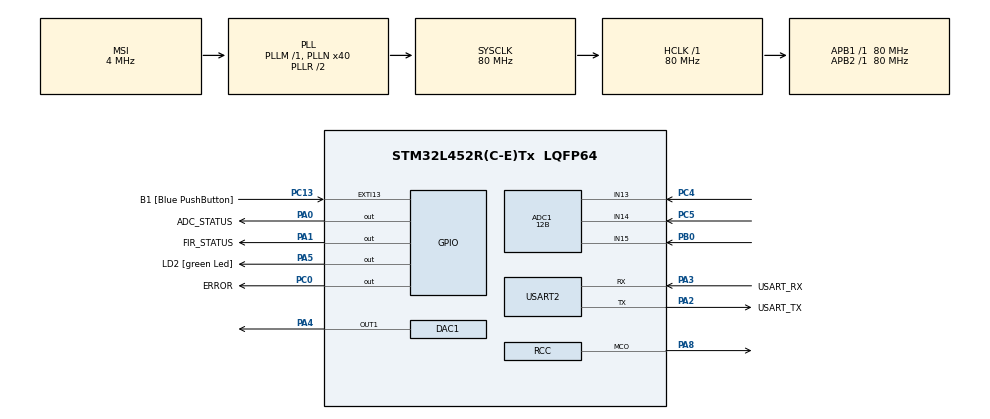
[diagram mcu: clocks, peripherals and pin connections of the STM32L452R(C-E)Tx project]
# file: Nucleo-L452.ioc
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ADC1.Channel-0\#ChannelRegularConversion=ADC_CHANNEL_13
ADC1.ClockPrescaler=ADC_CLOCK_ASYNC_DIV1
ADC1.ContinuousConvMode=DISABLE
ADC1.DMAContinuousRequests=ENABLE
ADC1.DataAlign=ADC_DATAALIGN_RIGHT
ADC1.DiscontinuousConvMode=DISABLE
ADC1.EOCSelection=ADC_EOC_SINGLE_CONV
ADC1.EnableAnalogWatchDog1=false
ADC1.EnableAnalogWatchDog2=false
ADC1.EnableAnalogWatchDog3=false
ADC1.EnableInjectedConversion=DISABLE
ADC1.EnableRegularConversion=ENABLE
ADC1.ExternalTrigConv=ADC_EXTERNALTRIG_T6_TRGO
ADC1.ExternalTrigConvEdge=ADC_EXTERNALTRIGCONVEDGE_RISING
ADC1.LowPowerAutoWait=DISABLE
ADC1.NbrOfConversion=1
ADC1.NbrOfConversionFlag=1
ADC1.OffsetNumber-0\#ChannelRegularConversion=ADC_OFFSET_NONE
ADC1.Overrun=ADC_OVR_DATA_OVERWRITTEN
ADC1.OversamplingMode=DISABLE
ADC1.Rank-0\#ChannelRegularConversion=1
ADC1.Resolution=ADC_RESOLUTION_12B
ADC1.SamplingTime-0\#ChannelRegularConversion=ADC_SAMPLETIME_2CYCLES_5
ADC1.ScanConvMode=ADC_SCAN_DISABLE
ADC1.master=1
DAC1.DAC_Trigger-DAC_OUT1=DAC_TRIGGER_T2_TRGO
Dma.ADC1.1.Direction=DMA_PERIPH_TO_MEMORY
Dma.ADC1.1.Instance=DMA1_Channel1
Dma.ADC1.1.MemDataAlignment=DMA_MDATAALIGN_HALFWORD
Dma.ADC1.1.MemInc=DMA_MINC_ENABLE
Dma.ADC1.1.Mode=DMA_CIRCULAR
Dma.ADC1.1.PeriphDataAlignment=DMA_PDATAALIGN_HALFWORD
Dma.ADC1.1.PeriphInc=DMA_PINC_DISABLE
Dma.ADC1.1.Priority=DMA_PRIORITY_LOW
Dma.DAC_CH1.0.Direction=DMA_MEMORY_TO_PERIPH
Dma.DAC_CH1.0.Instance=DMA1_Channel3
Dma.DAC_CH1.0.MemDataAlignment=DMA_MDATAALIGN_HALFWORD
Dma.DAC_CH1.0.MemInc=DMA_MINC_ENABLE
Dma.DAC_CH1.0.Mode=DMA_CIRCULAR
Dma.DAC_CH1.0.PeriphDataAlignment=DMA_PDATAALIGN_HALFWORD
Dma.DAC_CH1.0.PeriphInc=DMA_PINC_DISABLE
Dma.DAC_CH1.0.Priority=DMA_PRIORITY_LOW
Dma.Request0=DAC_CH1
Dma.Request1=ADC1
FREERTOS.HEAP_NUMBER=3
FREERTOS.MEMORY_ALLOCATION=2
FREERTOS.Queues01=adcInputQueue,8,uint32_t,NULL,Static,adcInputQueueBuffer,adcInputQueueControlBlock;adcOutputQueue,8,uint32_t,NULL,Static,adcOutputQueueBuffer,adcOutputQueueControlBlock
FREERTOS.Tasks01=defaultTask,0,128,StartDefaultTask,Default,NULL,Static,defaultTaskBuffer,defaultTaskControlBlock;adcInputTask,0,512,startAdcInputTask,Default,NULL,Static,adcInputTaskBuffer,adcInputTaskControlBlock;adcOutputTask,0,128,startAdcOutputTask,Default,NULL,Static,adcOutputTaskBuffer,adcOutputTaskControlBlock
FREERTOS.configCHECK_FOR_STACK_OVERFLOW=0
FREERTOS.configENABLE_BACKWARD_COMPATIBILITY=0
FREERTOS.configUSE_IDLE_HOOK=0
FREERTOS.configUSE_PORT_OPTIMISED_TASK_SELECTION=1
FREERTOS.configUSE_TICKLESS_IDLE=1
Mcu.Family=STM32L4
Mcu.Name=STM32L452R(C-E)Tx
Mcu.Package=LQFP64
NVIC.DMA1_Channel1_IRQn=true\:6\:0\:true\:false\:true\:true
NVIC.DMA1_Channel3_IRQn=true\:6\:0\:true\:false\:true\:true
NVIC.PriorityGroup=NVIC_PRIORITYGROUP_4
NVIC.TIM1_UP_TIM16_IRQn=true\:0\:0\:false\:false\:true\:false
NVIC.TimeBase=TIM1_UP_TIM16_IRQn
NVIC.TimeBaseIP=TIM1
PA0.GPIO_Label=ADC_STATUS
PA0.Signal=GPIO_Output
PA1.GPIO_Label=FIR_STATUS
PA1.Signal=GPIO_Output
PA13.GPIO_Label=TMS
PA13.Mode=Trace_Asynchronous_SW
PA13.Signal=SYS_JTMS-SWDIO
PA14.GPIO_Label=TCK
PA14.Mode=Trace_Asynchronous_SW
PA14.Signal=SYS_JTCK-SWCLK
PA2.GPIO_Label=USART_TX
PA2.GPIO_Mode=GPIO_MODE_AF_PP
PA2.GPIO_PuPd=GPIO_NOPULL
PA2.GPIO_Speed=GPIO_SPEED_FREQ_VERY_HIGH
PA2.Mode=Asynchronous
PA2.Signal=USART2_TX
PA3.GPIO_Label=USART_RX
PA3.GPIO_Mode=GPIO_MODE_AF_PP
PA3.GPIO_PuPd=GPIO_NOPULL
PA3.GPIO_Speed=GPIO_SPEED_FREQ_VERY_HIGH
PA3.Mode=Asynchronous
PA3.Signal=USART2_RX
PA4.Signal=COMP_DAC11_group
PA5.GPIO_Label=LD2 [green Led]
PA5.GPIO_ModeDefaultOutputPP=GPIO_MODE_OUTPUT_PP
PA5.GPIO_PuPd=GPIO_NOPULL
PA5.GPIO_Speed=GPIO_SPEED_FREQ_LOW
PA5.Signal=GPIO_Output
PA8.Mode=Clock-out
PA8.Signal=RCC_MCO
PB0.Signal=ADCx_IN15
PB3.GPIO_Label=SWO
PB3.Mode=Trace_Asynchronous_SW
PB3.Signal=SYS_JTDO-SWO
PC0.GPIO_Label=ERROR
PC0.Signal=GPIO_Output
PC13.GPIO_Label=B1 [Blue PushButton]
PC13.GPIO_ModeDefaultEXTI=GPIO_MODE_IT_FALLING
PC13.GPIO_PuPd=GPIO_NOPULL
PC13.Signal=GPXTI13
PC14/OSC32_IN.Mode=LSE-External-Oscillator
PC14/OSC32_IN.Signal=RCC_OSC32_IN
PC15/OSC32_OUT.Mode=LSE-External-Oscillator
PC15/OSC32_OUT.Signal=RCC_OSC32_OUT
PC4.Signal=ADCx_IN13
PC5.Signal=ADCx_IN14
PH0/OSC_IN.Mode=HSE-External-Oscillator
PH0/OSC_IN.Signal=RCC_OSC_IN
PH1/OSC_OUT.Mode=HSE-External-Oscillator
PH1/OSC_OUT.Signal=RCC_OSC_OUT
ProjectManager.HeapSize=0x2000
ProjectManager.StackSize=0x400
ProjectManager.TargetToolchain=SW4STM32
RCC.ADCFreq_Value=16000000
RCC.AHBFreq_Value=80000000
RCC.APB1Freq_Value=80000000
RCC.APB1TimFreq_Value=80000000
RCC.APB2Freq_Value=80000000
RCC.APB2TimFreq_Value=80000000
RCC.CortexFreq_Value=80000000
RCC.HCLKFreq_Value=80000000
RCC.HSE_VALUE=8000000
RCC.HSI48_VALUE=48000000
RCC.HSICalibrationValue=64
RCC.HSI_VALUE=16000000
RCC.MSI_VALUE=4000000
RCC.PLLN=40
RCC.PLLSAI1N=16
RCC.PLLSAI1R=RCC_PLLR_DIV4
RCC.PREFETCH_ENABLE=1
RCC.RCC_MCO1Source=RCC_MCO1SOURCE_MSI
RCC.SYSCLKFreq_VALUE=80000000
RCC.SYSCLKSource=RCC_SYSCLKSOURCE_PLLCLK
RCC.USBFreq_Value=32000000
RCC.VCOOutputFreq_Value=160000000
SH.ADCx_IN13.0=ADC1_IN13,IN13-Single-Ended
SH.ADCx_IN14.0=ADC1_IN14,IN14-Single-Ended
SH.ADCx_IN15.0=ADC1_IN15,IN15-Single-Ended
SH.COMP_DAC11_group.0=DAC1_OUT1,DAC_OUT1
TIM2.Period=3029
TIM2.TIM_MasterOutputTrigger=TIM_TRGO_UPDATE
TIM6.Period=3029
TIM6.TIM_MasterOutputTrigger=TIM_TRGO_UPDATE
USART2.VirtualMode-Asynchronous=VM_ASYNC
VP_FREERTOS_VS_ENABLE.Mode=Enabled
VP_SYS_VS_tim1.Mode=TIM1
VP_TIM2_VS_ClockSourceINT.Mode=Internal
VP_TIM6_VS_ClockSourceINT.Mode=Enable_Timer
board=NUCLEO-L452RE

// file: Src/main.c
/**
  ******************************************************************************
  * File Name          : main.c
  * Description        : Main program body
  ******************************************************************************
  *
  * Copyright (c) 2017 STMicroelectronics International N.V.
  * All rights reserved.
  *
  * Redistribution and use in source and binary forms, with or without
  * modification, are permitted, provided that the following conditions are met:
  *
  * 1. Redistribution of source code must retain the above copyright notice,
  *    this list of conditions and the following disclaimer.
  * 2. Redistributions in binary form must reproduce the above copyright notice,
  *    this list of conditions and the following disclaimer in the documentation
  *    and/or other materials provided with the distribution.
  * 3. Neither the name of STMicroelectronics nor the names of other
  *    contributors to this software may be used to endorse or promote products
  *    derived from this software without specific written permission.
  * 4. This software, including modifications and/or derivative works of this
  *    software, must execute solely and exclusively on microcontroller or
  *    microprocessor devices manufactured by or for STMicroelectronics.
  * 5. Redistribution and use of this software other than as permitted under
  *    this license is void and will automatically terminate your rights under
  *    this license.
  *
  * THIS SOFTWARE IS PROVIDED BY STMICROELECTRONICS AND CONTRIBUTORS "AS IS"
  * AND ANY EXPRESS, IMPLIED OR STATUTORY WARRANTIES, INCLUDING, BUT NOT
  * LIMITED TO, THE IMPLIED WARRANTIES OF MERCHANTABILITY, FITNESS FOR A
  * PARTICULAR PURPOSE AND NON-INFRINGEMENT OF THIRD PARTY INTELLECTUAL PROPERTY
  * RIGHTS ARE DISCLAIMED TO THE FULLEST EXTENT PERMITTED BY LAW. IN NO EVENT
  * SHALL STMICROELECTRONICS OR CONTRIBUTORS BE LIABLE FOR ANY DIRECT, INDIRECT,
  * INCIDENTAL, SPECIAL, EXEMPLARY, OR CONSEQUENTIAL DAMAGES (INCLUDING, BUT NOT
  * LIMITED TO, PROCUREMENT OF SUBSTITUTE GOODS OR SERVICES; LOSS OF USE, DATA,
  * OR PROFITS; OR BUSINESS INTERRUPTION) HOWEVER CAUSED AND ON ANY THEORY OF
  * LIABILITY, WHETHER IN CONTRACT, STRICT LIABILITY, OR TORT (INCLUDING
  * NEGLIGENCE OR OTHERWISE) ARISING IN ANY WAY OUT OF THE USE OF THIS SOFTWARE,
  * EVEN IF ADVISED OF THE POSSIBILITY OF SUCH DAMAGE.
  *
  ******************************************************************************
  */
#include "main.h"
#include "stm32l4xx_hal.h"
#include "cmsis_os.h"

/* USER CODE BEGIN Includes */
#include "arm_math.h"
#include "stdint.h"

/* USER CODE END Includes */

ADC_HandleTypeDef hadc1;
DMA_HandleTypeDef hdma_adc1;

DAC_HandleTypeDef hdac1;
DMA_HandleTypeDef hdma_dac_ch1;

TIM_HandleTypeDef htim2;
TIM_HandleTypeDef htim6;

UART_HandleTypeDef huart2;

osThreadId defaultTaskHandle;
uint32_t defaultTaskBuffer[ 128 ];
osStaticThreadDef_t defaultTaskControlBlock;
osThreadId adcInputTaskHandle;
uint32_t adcInputTaskBuffer[ 512 ];
osStaticThreadDef_t adcInputTaskControlBlock;
osThreadId adcOutputTaskHandle;
uint32_t adcOutputTaskBuffer[ 128 ];
osStaticThreadDef_t adcOutputTaskControlBlock;
osMessageQId adcInputQueueHandle;
uint8_t adcInputQueueBuffer[ 8 * sizeof( uint32_t ) ];
osStaticMessageQDef_t adcInputQueueControlBlock;
osMessageQId adcOutputQueueHandle;
uint8_t adcOutputQueueBuffer[ 8 * sizeof( uint32_t ) ];
osStaticMessageQDef_t adcOutputQueueControlBlock;

/* USER CODE BEGIN PV */
/* Private variables ---------------------------------------------------------*/
#define ADC_BUFFER_SIZE 176
#define ADC_BLOCKS 8
#define FILTER_SIZE 121

volatile uint32_t adc_counter = 0;
uint32_t adc_buffer[ADC_BUFFER_SIZE];
uint16_t adc_bounce_buffer[ADC_BUFFER_SIZE * ADC_BLOCKS];

const float* filter_taps;
float filter_state[ADC_BUFFER_SIZE + FILTER_SIZE - 1];
float filter_input[ADC_BUFFER_SIZE];
float filter_output[ADC_BUFFER_SIZE];
arm_fir_instance_f32 instance;

const float taps_0dB_121[] = {
  0.00404434702588704,
  -0.0003678805989470367,
  -0.0011037474176397869,
  -0.0023718433790735397,
  -0.004074774206090812,
  -0.005873042355767296,
  -0.007185024927682025,
  -0.00733586918005499,
  -0.005849936137673611,
  -0.0026340821242355635,
  0.001829866887380395,
  0.006596559367932984,
  0.010513363703436297,
  0.012581963716759209,
  0.012278717176141912,
  0.009711068794837135,
  0.005595156551222992,
  0.0010151465722928203,
  -0.0028911100291917724,
  -0.00525632756952279,
  -0.005713225280738633,
  -0.004481173891886628,
  -0.0022979447479362165,
  -0.00020042687909196258,
  0.0007698191454281245,
  -0.00010521900913954391,
  -0.0029591195718788473,
  -0.00722329412770922,
  -0.01171525034180743,
  -0.014940096229612041,
  -0.015533747313789608,
  -0.012735965353880947,
  -0.006719733175529481,
  0.0013488096154956725,
  0.00958058819325866,
  0.015905894530456915,
  0.018729580500272548,
  0.01748781569748245,
  0.012897342590446394,
  0.006795493031300682,
  0.0015881037163025886,
  -0.0005374299552534915,
  0.0016047331197704602,
  0.007673729209166328,
  0.015724242346878387,
  0.022631203832237833,
  0.024935722640487233,
  0.01989507252801227,
  0.00645078432931977,
  -0.014172629267618218,
  -0.038442876378037664,
  -0.06113274585379875,
  -0.07647113797360244,
  -0.07957164384983365,
  -0.06778356575105521,
  -0.04159845430900078,
  -0.0048373906972505945,
  0.03598583922416374,
  0.0730150987796154,
  0.09880455186134979,
  0.10804223448811107,
  0.09880455186134979,
  0.0730150987796154,
  0.03598583922416374,
  -0.0048373906972505945,
  -0.04159845430900078,
  -0.06778356575105521,
  -0.07957164384983365,
  -0.07647113797360244,
  -0.06113274585379875,
  -0.038442876378037664,
  -0.014172629267618218,
  0.006450784329319771,
  0.01989507252801227,
  0.024935722640487233,
  0.022631203832237833,
  0.015724242346878387,
  0.007673729209166332,
  0.0016047331197704602,
  -0.0005374299552534915,
  0.0015881037163025886,
  0.0067954930313006805,
  0.012897342590446394,
  0.017487815697482458,
  0.01872958050027255,
  0.015905894530456915,
  0.00958058819325866,
  0.0013488096154956762,
  -0.006719733175529481,
  -0.012735965353880947,
  -0.015533747313789608,
  -0.014940096229612034,
  -0.01171525034180743,
  -0.00722329412770922,
  -0.0029591195718788473,
  -0.00010521900913954758,
  0.0007698191454281245,
  -0.00020042687909196258,
  -0.0022979447479362165,
  -0.004481173891886626,
  -0.005713225280738633,
  -0.005256327569522788,
  -0.0028911100291917724,
  0.0010151465722928203,
  0.005595156551222992,
  0.009711068794837135,
  0.012278717176141915,
  0.012581963716759209,
  0.010513363703436297,
  0.006596559367932984,
  0.001829866887380395,
  -0.0026340821242355635,
  -0.005849936137673611,
  -0.0073358691800549875,
  -0.007185024927682024,
  -0.005873042355767296,
  -0.004074774206090811,
  -0.0023718433790735397,
  -0.0011037474176397869,
  -0.00036788059894704404,
  0.00404434702588704
};

/* USER CODE END PV */

void SystemClock_Config(void);
void Error_Handler(void);
static void MX_GPIO_Init(void);
static void MX_DMA_Init(void);
static void MX_USART2_UART_Init(void);
static void MX_ADC1_Init(void);
static void MX_DAC1_Init(void);
static void MX_TIM2_Init(void);
static void MX_TIM6_Init(void);
void StartDefaultTask(void const * argument);
void startAdcInputTask(void const * argument);
void startAdcOutputTask(void const * argument);

/* USER CODE BEGIN PFP */
/* Private function prototypes -----------------------------------------------*/
void blink(int delay) __attribute__((section(".bss2")));
void startADC(void);
float* filter(int16_t* input) __attribute__((section(".bss2")));
/* USER CODE END PFP */

/* USER CODE BEGIN 0 */

void blink(int delay)
{
  HAL_GPIO_TogglePin(LD2_GPIO_Port, LD2_Pin);
  HAL_Delay(delay);
}

inline void adc_buffer_copy(int n)
{
  uint16_t* dest = adc_bounce_buffer + (ADC_BUFFER_SIZE * adc_counter);
  uint16_t* src = ((uint16_t*)adc_buffer) + (n * ADC_BUFFER_SIZE);
  memcpy(dest, src, ADC_BUFFER_SIZE * 2);
  adc_counter = ((adc_counter + 1) & (ADC_BLOCKS - 1));
  osMessagePut(adcInputQueueHandle, (uint32_t) dest, 0);
}

// DMA Conversion first half complete.
void HAL_ADC_ConvHalfCpltCallback(ADC_HandleTypeDef* unused)
{
  ADC_STATUS_GPIO_Port->BRR = ADC_STATUS_Pin;
  adc_buffer_copy(0);
}

// DMA Conversion second half complete.
void HAL_ADC_ConvCpltCallback(ADC_HandleTypeDef* unused)
{
  ADC_STATUS_GPIO_Port->BSRR = ADC_STATUS_Pin;
  adc_buffer_copy(1);
}

void startADC(void)
{
  HAL_StatusTypeDef adcStatus = HAL_ADCEx_Calibration_Start(&hadc1, ADC_SINGLE_ENDED);
  if (adcStatus != HAL_OK) {
    Error_Handler();
  }

  HAL_TIM_Base_Start(&htim6);
  HAL_ADC_Start_DMA(&hadc1, adc_buffer, ADC_BUFFER_SIZE * 2);
}

void init_filter(void)
{
  arm_fir_init_f32(&instance, FILTER_SIZE, (float32_t*)filter_taps,
    filter_state, ADC_BUFFER_SIZE);
}

float* filter(int16_t* input)
{
  FIR_STATUS_GPIO_Port->BSRR = FIR_STATUS_Pin;
  for (size_t i = 0; i != ADC_BUFFER_SIZE; i++) {
      filter_input[i] = (input[i] - 2048) * 0.000488281f;
  }
  arm_fir_f32(&instance, filter_input, filter_output, ADC_BUFFER_SIZE);
  FIR_STATUS_GPIO_Port->BRR = FIR_STATUS_Pin;
  return filter_output;

}
/* USER CODE END 0 */

int main(void)
{

  /* MCU Configuration----------------------------------------------------------*/

  /* Reset of all peripherals, Initializes the Flash interface and the Systick. */
  HAL_Init();

  /* Configure the system clock */
  SystemClock_Config();

  /* Initialize all configured peripherals */
  MX_GPIO_Init();
  MX_DMA_Init();
  MX_USART2_UART_Init();
  MX_ADC1_Init();
  MX_DAC1_Init();
  MX_TIM2_Init();
  MX_TIM6_Init();

  /* Create the thread(s) */
  /* definition and creation of defaultTask */
  osThreadStaticDef(defaultTask, StartDefaultTask, osPriorityNormal, 0, 128, defaultTaskBuffer, &defaultTaskControlBlock);
  defaultTaskHandle = osThreadCreate(osThread(defaultTask), NULL);

  /* definition and creation of adcInputTask */
  osThreadStaticDef(adcInputTask, startAdcInputTask, osPriorityNormal, 0, 512, adcInputTaskBuffer, &adcInputTaskControlBlock);
  adcInputTaskHandle = osThreadCreate(osThread(adcInputTask), NULL);

  /* definition and creation of adcOutputTask */
  osThreadStaticDef(adcOutputTask, startAdcOutputTask, osPriorityNormal, 0, 128, adcOutputTaskBuffer, &adcOutputTaskControlBlock);
  adcOutputTaskHandle = osThreadCreate(osThread(adcOutputTask), NULL);

  /* Create the queue(s) */
  /* definition and creation of adcInputQueue */
  osMessageQStaticDef(adcInputQueue, 8, uint32_t, adcInputQueueBuffer, &adcInputQueueControlBlock);
  adcInputQueueHandle = osMessageCreate(osMessageQ(adcInputQueue), NULL);

  /* definition and creation of adcOutputQueue */
  osMessageQStaticDef(adcOutputQueue, 8, uint32_t, adcOutputQueueBuffer, &adcOutputQueueControlBlock);
  adcOutputQueueHandle = osMessageCreate(osMessageQ(adcOutputQueue), NULL);

  /* Start scheduler */
  osKernelStart();

  /* We should never get here as control is now taken by the scheduler */

  /* Infinite loop */
  while (1)
  {

  }

}

/** System Clock Configuration
*/
void SystemClock_Config(void)
{

  RCC_OscInitTypeDef RCC_OscInitStruct;
  RCC_ClkInitTypeDef RCC_ClkInitStruct;
  RCC_PeriphCLKInitTypeDef PeriphClkInit;

    /**Initializes the CPU, AHB and APB busses clocks
    */
  RCC_OscInitStruct.OscillatorType = RCC_OSCILLATORTYPE_LSE|RCC_OSCILLATORTYPE_MSI;
  RCC_OscInitStruct.LSEState = RCC_LSE_ON;
  RCC_OscInitStruct.MSIState = RCC_MSI_ON;
  RCC_OscInitStruct.MSICalibrationValue = 0;
  RCC_OscInitStruct.MSIClockRange = RCC_MSIRANGE_6;
  RCC_OscInitStruct.PLL.PLLState = RCC_PLL_ON;
  RCC_OscInitStruct.PLL.PLLSource = RCC_PLLSOURCE_MSI;
  RCC_OscInitStruct.PLL.PLLM = 1;
  RCC_OscInitStruct.PLL.PLLN = 40;
  RCC_OscInitStruct.PLL.PLLP = RCC_PLLP_DIV7;
  RCC_OscInitStruct.PLL.PLLQ = RCC_PLLQ_DIV2;
  RCC_OscInitStruct.PLL.PLLR = RCC_PLLR_DIV2;
  if (HAL_RCC_OscConfig(&RCC_OscInitStruct) != HAL_OK)
  {
    Error_Handler();
  }

    /**Initializes the CPU, AHB and APB busses clocks
    */
  RCC_ClkInitStruct.ClockType = RCC_CLOCKTYPE_HCLK|RCC_CLOCKTYPE_SYSCLK
                              |RCC_CLOCKTYPE_PCLK1|RCC_CLOCKTYPE_PCLK2;
  RCC_ClkInitStruct.SYSCLKSource = RCC_SYSCLKSOURCE_PLLCLK;
  RCC_ClkInitStruct.AHBCLKDivider = RCC_SYSCLK_DIV1;
  RCC_ClkInitStruct.APB1CLKDivider = RCC_HCLK_DIV1;
  RCC_ClkInitStruct.APB2CLKDivider = RCC_HCLK_DIV1;

  if (HAL_RCC_ClockConfig(&RCC_ClkInitStruct, FLASH_LATENCY_4) != HAL_OK)
  {
    Error_Handler();
  }

  PeriphClkInit.PeriphClockSelection = RCC_PERIPHCLK_USART2|RCC_PERIPHCLK_ADC;
  PeriphClkInit.Usart2ClockSelection = RCC_USART2CLKSOURCE_PCLK1;
  PeriphClkInit.AdcClockSelection = RCC_ADCCLKSOURCE_PLLSAI1;
  PeriphClkInit.PLLSAI1.PLLSAI1Source = RCC_PLLSOURCE_MSI;
  PeriphClkInit.PLLSAI1.PLLSAI1M = 1;
  PeriphClkInit.PLLSAI1.PLLSAI1N = 16;
  PeriphClkInit.PLLSAI1.PLLSAI1P = RCC_PLLP_DIV7;
  PeriphClkInit.PLLSAI1.PLLSAI1Q = RCC_PLLQ_DIV2;
  PeriphClkInit.PLLSAI1.PLLSAI1R = RCC_PLLR_DIV4;
  PeriphClkInit.PLLSAI1.PLLSAI1ClockOut = RCC_PLLSAI1_ADC1CLK;
  if (HAL_RCCEx_PeriphCLKConfig(&PeriphClkInit) != HAL_OK)
  {
    Error_Handler();
  }

  HAL_RCC_MCOConfig(RCC_MCO1, RCC_MCO1SOURCE_MSI, RCC_MCODIV_1);

    /**Configure LSE Drive Capability
    */
  __HAL_RCC_LSEDRIVE_CONFIG(RCC_LSEDRIVE_LOW);

    /**Configure the main internal regulator output voltage
    */
  if (HAL_PWREx_ControlVoltageScaling(PWR_REGULATOR_VOLTAGE_SCALE1) != HAL_OK)
  {
    Error_Handler();
  }

    /**Configure the Systick interrupt time
    */
  HAL_SYSTICK_Config(HAL_RCC_GetHCLKFreq()/1000);

    /**Configure the Systick
    */
  HAL_SYSTICK_CLKSourceConfig(SYSTICK_CLKSOURCE_HCLK);

    /**Enable MSI Auto calibration
    */
  HAL_RCCEx_EnableMSIPLLMode();

  /* SysTick_IRQn interrupt configuration */
  HAL_NVIC_SetPriority(SysTick_IRQn, 15, 0);
}

/* ADC1 init function */
static void MX_ADC1_Init(void)
{

  ADC_ChannelConfTypeDef sConfig;

    /**Common config
    */
  hadc1.Instance = ADC1;
  hadc1.Init.ClockPrescaler = ADC_CLOCK_ASYNC_DIV1;
  hadc1.Init.Resolution = ADC_RESOLUTION_12B;
  hadc1.Init.DataAlign = ADC_DATAALIGN_RIGHT;
  hadc1.Init.ScanConvMode = ADC_SCAN_DISABLE;
  hadc1.Init.EOCSelection = ADC_EOC_SINGLE_CONV;
  hadc1.Init.LowPowerAutoWait = DISABLE;
  hadc1.Init.ContinuousConvMode = DISABLE;
  hadc1.Init.NbrOfConversion = 1;
  hadc1.Init.DiscontinuousConvMode = DISABLE;
  hadc1.Init.NbrOfDiscConversion = 1;
  hadc1.Init.ExternalTrigConv = ADC_EXTERNALTRIG_T6_TRGO;
  hadc1.Init.ExternalTrigConvEdge = ADC_EXTERNALTRIGCONVEDGE_RISING;
  hadc1.Init.DMAContinuousRequests = ENABLE;
  hadc1.Init.Overrun = ADC_OVR_DATA_OVERWRITTEN;
  hadc1.Init.OversamplingMode = DISABLE;
  if (HAL_ADC_Init(&hadc1) != HAL_OK)
  {
    Error_Handler();
  }

    /**Configure Regular Channel
    */
  sConfig.Channel = ADC_CHANNEL_13;
  sConfig.Rank = 1;
  sConfig.SamplingTime = ADC_SAMPLETIME_2CYCLES_5;
  sConfig.SingleDiff = ADC_SINGLE_ENDED;
  sConfig.OffsetNumber = ADC_OFFSET_NONE;
  sConfig.Offset = 0;
  if (HAL_ADC_ConfigChannel(&hadc1, &sConfig) != HAL_OK)
  {
    Error_Handler();
  }

}

/* DAC1 init function */
static void MX_DAC1_Init(void)
{

  DAC_ChannelConfTypeDef sConfig;

    /**DAC Initialization
    */
  hdac1.Instance = DAC1;
  if (HAL_DAC_Init(&hdac1) != HAL_OK)
  {
    Error_Handler();
  }

    /**DAC channel OUT1 config
    */
  sConfig.DAC_SampleAndHold = DAC_SAMPLEANDHOLD_DISABLE;
  sConfig.DAC_Trigger = DAC_TRIGGER_T2_TRGO;
  sConfig.DAC_OutputBuffer = DAC_OUTPUTBUFFER_ENABLE;
  sConfig.DAC_ConnectOnChipPeripheral = DAC_CHIPCONNECT_DISABLE;
  sConfig.DAC_UserTrimming = DAC_TRIMMING_FACTORY;
  if (HAL_DAC_ConfigChannel(&hdac1, &sConfig, DAC_CHANNEL_1) != HAL_OK)
  {
    Error_Handler();
  }

}

/* TIM2 init function */
static void MX_TIM2_Init(void)
{

  TIM_ClockConfigTypeDef sClockSourceConfig;
  TIM_MasterConfigTypeDef sMasterConfig;

  htim2.Instance = TIM2;
  htim2.Init.Prescaler = 0;
  htim2.Init.CounterMode = TIM_COUNTERMODE_UP;
  htim2.Init.Period = 3029;
  htim2.Init.ClockDivision = TIM_CLOCKDIVISION_DIV1;
  if (HAL_TIM_Base_Init(&htim2) != HAL_OK)
  {
    Error_Handler();
  }

  sClockSourceConfig.ClockSource = TIM_CLOCKSOURCE_INTERNAL;
  if (HAL_TIM_ConfigClockSource(&htim2, &sClockSourceConfig) != HAL_OK)
  {
    Error_Handler();
  }

  sMasterConfig.MasterOutputTrigger = TIM_TRGO_UPDATE;
  sMasterConfig.MasterSlaveMode = TIM_MASTERSLAVEMODE_DISABLE;
  if (HAL_TIMEx_MasterConfigSynchronization(&htim2, &sMasterConfig) != HAL_OK)
  {
    Error_Handler();
  }

}

/* TIM6 init function */
static void MX_TIM6_Init(void)
{

  TIM_MasterConfigTypeDef sMasterConfig;

  htim6.Instance = TIM6;
  htim6.Init.Prescaler = 0;
  htim6.Init.CounterMode = TIM_COUNTERMODE_UP;
  htim6.Init.Period = 3029;
  if (HAL_TIM_Base_Init(&htim6) != HAL_OK)
  {
    Error_Handler();
  }

  sMasterConfig.MasterOutputTrigger = TIM_TRGO_UPDATE;
  sMasterConfig.MasterSlaveMode = TIM_MASTERSLAVEMODE_DISABLE;
  if (HAL_TIMEx_MasterConfigSynchronization(&htim6, &sMasterConfig) != HAL_OK)
  {
    Error_Handler();
  }

}

/* USART2 init function */
static void MX_USART2_UART_Init(void)
{

  huart2.Instance = USART2;
  huart2.Init.BaudRate = 115200;
  huart2.Init.WordLength = UART_WORDLENGTH_7B;
  huart2.Init.StopBits = UART_STOPBITS_1;
  huart2.Init.Parity = UART_PARITY_NONE;
  huart2.Init.Mode = UART_MODE_TX_RX;
  huart2.Init.HwFlowCtl = UART_HWCONTROL_NONE;
  huart2.Init.OverSampling = UART_OVERSAMPLING_16;
  huart2.Init.OneBitSampling = UART_ONE_BIT_SAMPLE_DISABLE;
  huart2.AdvancedInit.AdvFeatureInit = UART_ADVFEATURE_NO_INIT;
  if (HAL_UART_Init(&huart2) != HAL_OK)
  {
    Error_Handler();
  }

}

static void MX_DMA_Init(void)
{
  /* DMA controller clock enable */
  __HAL_RCC_DMA1_CLK_ENABLE();

  /* DMA interrupt init */
  /* DMA1_Channel1_IRQn interrupt configuration */
  HAL_NVIC_SetPriority(DMA1_Channel1_IRQn, 6, 0);
  HAL_NVIC_EnableIRQ(DMA1_Channel1_IRQn);
  /* DMA1_Channel3_IRQn interrupt configuration */
  HAL_NVIC_SetPriority(DMA1_Channel3_IRQn, 6, 0);
  HAL_NVIC_EnableIRQ(DMA1_Channel3_IRQn);

}

/** Configure pins as
        * Analog
        * Input
        * Output
        * EVENT_OUT
        * EXTI
     PA8   ------> RCC_MCO
*/
static void MX_GPIO_Init(void)
{

  GPIO_InitTypeDef GPIO_InitStruct;

  /* GPIO Ports Clock Enable */
  __HAL_RCC_GPIOC_CLK_ENABLE();
  __HAL_RCC_GPIOH_CLK_ENABLE();
  __HAL_RCC_GPIOA_CLK_ENABLE();
  __HAL_RCC_GPIOB_CLK_ENABLE();

  /*Configure GPIO pin Output Level */
  HAL_GPIO_WritePin(ERROR_GPIO_Port, ERROR_Pin, GPIO_PIN_RESET);

  /*Configure GPIO pin Output Level */
  HAL_GPIO_WritePin(GPIOA, ADC_STATUS_Pin|FIR_STATUS_Pin|LD2_Pin, GPIO_PIN_RESET);

  /*Configure GPIO pin : B1_Pin */
  GPIO_InitStruct.Pin = B1_Pin;
  GPIO_InitStruct.Mode = GPIO_MODE_IT_FALLING;
  GPIO_InitStruct.Pull = GPIO_NOPULL;
  HAL_GPIO_Init(B1_GPIO_Port, &GPIO_InitStruct);

  /*Configure GPIO pin : ERROR_Pin */
  GPIO_InitStruct.Pin = ERROR_Pin;
  GPIO_InitStruct.Mode = GPIO_MODE_OUTPUT_PP;
  GPIO_InitStruct.Pull = GPIO_NOPULL;
  GPIO_InitStruct.Speed = GPIO_SPEED_FREQ_LOW;
  HAL_GPIO_Init(ERROR_GPIO_Port, &GPIO_InitStruct);

  /*Configure GPIO pins : ADC_STATUS_Pin FIR_STATUS_Pin LD2_Pin */
  GPIO_InitStruct.Pin = ADC_STATUS_Pin|FIR_STATUS_Pin|LD2_Pin;
  GPIO_InitStruct.Mode = GPIO_MODE_OUTPUT_PP;
  GPIO_InitStruct.Pull = GPIO_NOPULL;
  GPIO_InitStruct.Speed = GPIO_SPEED_FREQ_LOW;
  HAL_GPIO_Init(GPIOA, &GPIO_InitStruct);

  /*Configure GPIO pin : PA8 */
  GPIO_InitStruct.Pin = GPIO_PIN_8;
  GPIO_InitStruct.Mode = GPIO_MODE_AF_PP;
  GPIO_InitStruct.Pull = GPIO_NOPULL;
  GPIO_InitStruct.Speed = GPIO_SPEED_FREQ_LOW;
  GPIO_InitStruct.Alternate = GPIO_AF0_MCO;
  HAL_GPIO_Init(GPIOA, &GPIO_InitStruct);

}

/* StartDefaultTask function */
void StartDefaultTask(void const * argument)
{

  /* USER CODE BEGIN 5 */
  /* Infinite loop */
  for(;;)
  {
    osDelay(500);
    HAL_GPIO_TogglePin(LD2_GPIO_Port, LD2_Pin);
  }
  /* USER CODE END 5 */
}

/* startAdcInputTask function */
void startAdcInputTask(void const * argument)
{
  /* USER CODE BEGIN startAdcInputTask */
  init_filter();
  startADC();
  /* Infinite loop */
  for(;;)
  {
    osEvent result = osMessageGet(adcInputQueueHandle, osWaitForever);
    if (result.status != osEventMessage) continue;
    int16_t* buffer = result.value.p;
    filter(buffer);
  }
  /* USER CODE END startAdcInputTask */
}

/* startAdcOutputTask function */
void startAdcOutputTask(void const * argument)
{
  /* USER CODE BEGIN startAdcOutputTask */
  /* Infinite loop */
  for(;;)
  {
    osDelay(osWaitForever);
  }
  /* USER CODE END startAdcOutputTask */
}

void HAL_TIM_PeriodElapsedCallback(TIM_HandleTypeDef *htim)
{
  if (htim->Instance == TIM1) {
    HAL_IncTick();
  }
}

void Error_Handler(void)
{
  /* USER CODE BEGIN Error_Handler */
  /* User can add his own implementation to report the HAL error return state */
  while(1)
  {
    blink(1000);
  }
  /* USER CODE END Error_Handler */
}

/************************ (C) COPYRIGHT STMicroelectronics *****END OF FILE****/

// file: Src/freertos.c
/**
  ******************************************************************************
  * File Name          : freertos.c
  * Description        : Code for freertos applications
  ******************************************************************************
  *
  * Copyright (c) 2017 STMicroelectronics International N.V.
  * All rights reserved.
  *
  * Redistribution and use in source and binary forms, with or without
  * modification, are permitted, provided that the following conditions are met:
  *
  * 1. Redistribution of source code must retain the above copyright notice,
  *    this list of conditions and the following disclaimer.
  * 2. Redistributions in binary form must reproduce the above copyright notice,
  *    this list of conditions and the following disclaimer in the documentation
  *    and/or other materials provided with the distribution.
  * 3. Neither the name of STMicroelectronics nor the names of other
  *    contributors to this software may be used to endorse or promote products
  *    derived from this software without specific written permission.
  * 4. This software, including modifications and/or derivative works of this
  *    software, must execute solely and exclusively on microcontroller or
  *    microprocessor devices manufactured by or for STMicroelectronics.
  * 5. Redistribution and use of this software other than as permitted under
  *    this license is void and will automatically terminate your rights under
  *    this license.
  *
  * THIS SOFTWARE IS PROVIDED BY STMICROELECTRONICS AND CONTRIBUTORS "AS IS"
  * AND ANY EXPRESS, IMPLIED OR STATUTORY WARRANTIES, INCLUDING, BUT NOT
  * LIMITED TO, THE IMPLIED WARRANTIES OF MERCHANTABILITY, FITNESS FOR A
  * PARTICULAR PURPOSE AND NON-INFRINGEMENT OF THIRD PARTY INTELLECTUAL PROPERTY
  * RIGHTS ARE DISCLAIMED TO THE FULLEST EXTENT PERMITTED BY LAW. IN NO EVENT
  * SHALL STMICROELECTRONICS OR CONTRIBUTORS BE LIABLE FOR ANY DIRECT, INDIRECT,
  * INCIDENTAL, SPECIAL, EXEMPLARY, OR CONSEQUENTIAL DAMAGES (INCLUDING, BUT NOT
  * LIMITED TO, PROCUREMENT OF SUBSTITUTE GOODS OR SERVICES; LOSS OF USE, DATA,
  * OR PROFITS; OR BUSINESS INTERRUPTION) HOWEVER CAUSED AND ON ANY THEORY OF
  * LIABILITY, WHETHER IN CONTRACT, STRICT LIABILITY, OR TORT (INCLUDING
  * NEGLIGENCE OR OTHERWISE) ARISING IN ANY WAY OUT OF THE USE OF THIS SOFTWARE,
  * EVEN IF ADVISED OF THE POSSIBILITY OF SUCH DAMAGE.
  *
  ******************************************************************************
  */

#include "FreeRTOS.h"
#include "task.h"

/* USER CODE BEGIN Includes */
#include "stm32l4xx_hal.h"
/* USER CODE END Includes */

/* Pre/Post sleep processing prototypes */
void PreSleepProcessing(uint32_t *ulExpectedIdleTime);
void PostSleepProcessing(uint32_t *ulExpectedIdleTime);

/* GetIdleTaskMemory prototype (linked to static allocation support) */
void vApplicationGetIdleTaskMemory( StaticTask_t **ppxIdleTaskTCBBuffer, StackType_t **ppxIdleTaskStackBuffer, uint32_t *pulIdleTaskStackSize );

/* Hook prototypes */

/* USER CODE BEGIN PREPOSTSLEEP */
__weak void PreSleepProcessing(uint32_t *ulExpectedIdleTime)
{
/* place for user code */
}

__weak void PostSleepProcessing(uint32_t *ulExpectedIdleTime)
{
/* place for user code */
}
/* USER CODE END PREPOSTSLEEP */

/* USER CODE BEGIN GET_IDLE_TASK_MEMORY */
static StaticTask_t xIdleTaskTCBBuffer;
static StackType_t xIdleStack[configMINIMAL_STACK_SIZE];

void vApplicationGetIdleTaskMemory( StaticTask_t **ppxIdleTaskTCBBuffer, StackType_t **ppxIdleTaskStackBuffer, uint32_t *pulIdleTaskStackSize )
{
  *ppxIdleTaskTCBBuffer = &xIdleTaskTCBBuffer;
  *ppxIdleTaskStackBuffer = &xIdleStack[0];
  *pulIdleTaskStackSize = configMINIMAL_STACK_SIZE;
  /* place for user code */
}
/* USER CODE END GET_IDLE_TASK_MEMORY */

/************************ (C) COPYRIGHT STMicroelectronics *****END OF FILE****/
